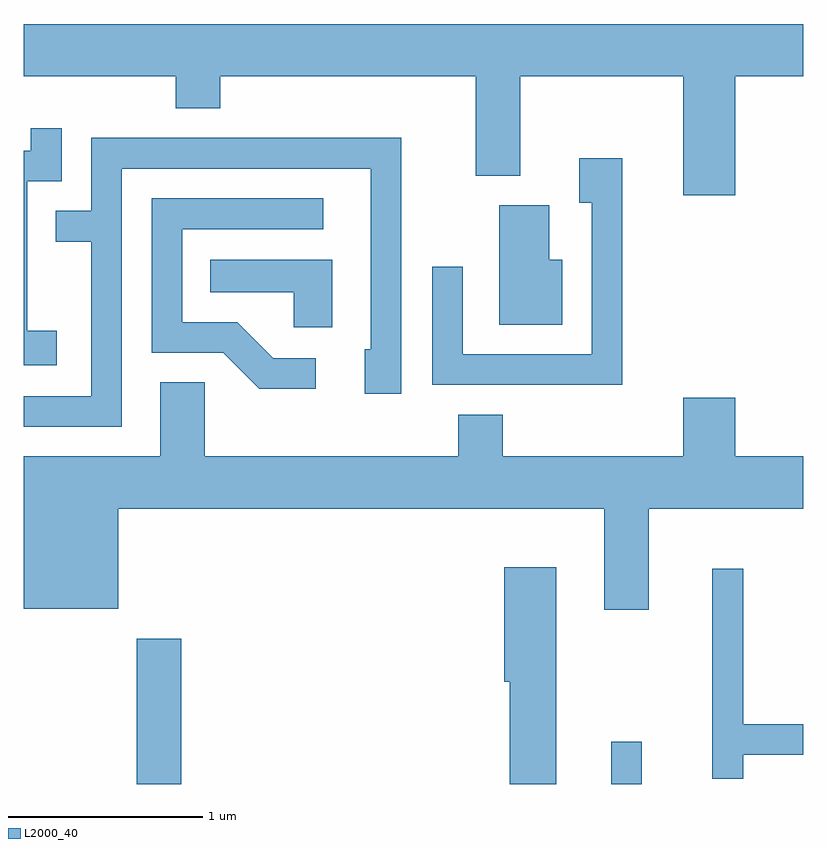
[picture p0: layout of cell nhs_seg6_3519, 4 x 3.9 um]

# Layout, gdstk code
import gdstk
lib = gdstk.Library(unit=1e-6, precision=1e-09)
def R(c, l, rs):  # rectangles x0, y0, x1, y1
    for r in rs: c.add(gdstk.rectangle(r[:2], r[2:], *l))
def P(c, l, *ps):  # polygons
    for p in ps: c.add(gdstk.Polygon(p, *l))
L2000_40 = (2000, 40)

nhs_seg6_3519 = lib.new_cell('nhs_seg6_3519')
R(nhs_seg6_3519, L2000_40, [(292.191,1564.162,292.419,1564.909), (294.626,1564.162,294.784,1564.378)])
P(nhs_seg6_3519, L2000_40, [(295.264,1567.796),(295.611,1567.796),(295.611,1568.064),(291.611,1568.064),(291.611,1567.796),(292.391,1567.796),(292.391,1567.631),(292.619,1567.631),(292.619,1567.796),(293.931,1567.796),(293.931,1567.286),(294.159,1567.286),(294.159,1567.796),(294.996,1567.796),(294.996,1567.186),(295.264,1567.186)],
  [(291.779,1566.489),(291.629,1566.489),(291.629,1567.256),(291.804,1567.256),(291.804,1567.528),(291.646,1567.528),(291.646,1567.414),(291.611,1567.414),(291.611,1566.311),(291.779,1566.311)],
  [(292.114,1567.321),(293.391,1567.321),(293.391,1566.394),(293.361,1566.394),(293.361,1566.166),(293.549,1566.166),(293.549,1567.479),(291.956,1567.479),(291.956,1567.104),(291.773,1567.104),(291.773,1566.946),(291.956,1566.946),(291.956,1566.154),(291.611,1566.154),(291.611,1565.996),(292.114,1565.996)],
  [(294.684,1567.374),(294.461,1567.374),(294.461,1567.146),(294.526,1567.146),(294.526,1566.369),(293.864,1566.369),(293.864,1566.818),(293.706,1566.818),(293.706,1566.211),(294.684,1566.211)],
  [(293.108,1566.349),(292.892,1566.349),(292.707,1566.534),(292.424,1566.534),(292.424,1567.011),(293.148,1567.011),(293.148,1567.169),(292.266,1567.169),(292.266,1566.376),(292.634,1566.376),(292.819,1566.191),(293.108,1566.191)],
  [(294.374,1566.854),(294.309,1566.854),(294.309,1567.134),(294.051,1567.134),(294.051,1566.521),(294.374,1566.521)],
  [(293.194,1566.854),(292.568,1566.854),(292.568,1566.686),(292.996,1566.686),(292.996,1566.506),(293.194,1566.506)],
  [(294.819,1565.576),(295.611,1565.576),(295.611,1565.844),(295.264,1565.844),(295.264,1566.144),(294.996,1566.144),(294.996,1565.844),(294.069,1565.844),(294.069,1566.059),(293.841,1566.059),(293.841,1565.844),(292.539,1565.844),(292.539,1566.224),(292.311,1566.224),(292.311,1565.844),(291.611,1565.844),(291.611,1565.061),(292.094,1565.061),(292.094,1565.576),(294.591,1565.576),(294.591,1565.056),(294.819,1565.056)],
  [(294.344,1565.274),(294.076,1565.274),(294.076,1564.686),(294.106,1564.686),(294.106,1564.162),(294.344,1564.162)],
  [(295.304,1564.311),(295.611,1564.311),(295.611,1564.469),(295.304,1564.469),(295.304,1565.268),(295.146,1565.268),(295.146,1564.188),(295.304,1564.188)])

lib.write_gds('nhs_seg6_3519.gds')
